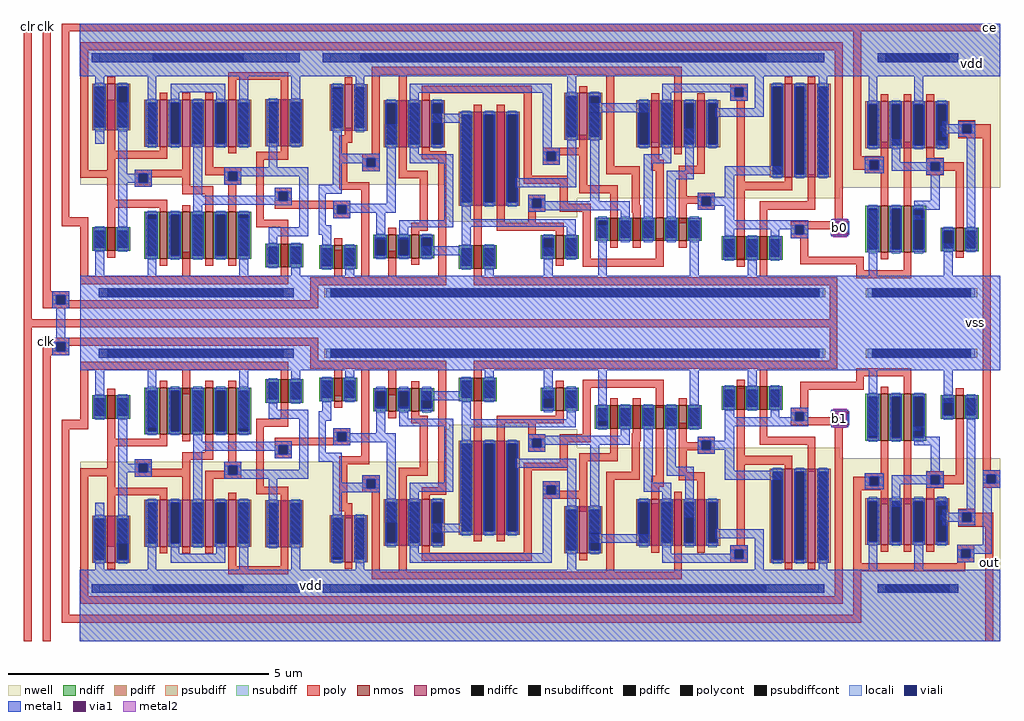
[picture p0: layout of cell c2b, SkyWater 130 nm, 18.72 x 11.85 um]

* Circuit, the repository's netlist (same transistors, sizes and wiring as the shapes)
* NGSPICE file created from c2b.ext - technology: sky130A

.subckt sky130_fd_pr__pfet_01v8_5CNMEE VSUBS a_15_n180# w_n109_n242# a_n73_n180# a_n15_n206#
X0 a_15_n180# a_n15_n206# a_n73_n180# w_n109_n242# sky130_fd_pr__pfet_01v8 ad=5.22e+11p pd=4.18e+06u as=5.22e+11p ps=4.18e+06u w=1.8e+06u l=150000u
.ends

.subckt sky130_fd_pr__pfet_01v8_5UWV5B VSUBS a_n15_n116# a_n73_n90# w_n109_n152# a_15_n90#
X0 a_15_n90# a_n15_n116# a_n73_n90# w_n109_n152# sky130_fd_pr__pfet_01v8 ad=2.61e+11p pd=2.38e+06u as=2.61e+11p ps=2.38e+06u w=900000u l=150000u
.ends

.subckt sky130_fd_pr__nfet_01v8_J836M4 VSUBS a_n73_n45# a_n15_n71# a_15_n45#
X0 a_15_n45# a_n15_n71# a_n73_n45# VSUBS sky130_fd_pr__nfet_01v8 ad=1.305e+11p pd=1.48e+06u as=1.305e+11p ps=1.48e+06u w=450000u l=150000u
.ends

.subckt flipflop clk Q clr vss vdd D
Xsky130_fd_pr__pfet_01v8_5CNMEE_0 vss vdd vdd sky130_fd_pr__pfet_01v8_5CNMEE_3/a_15_n180#
+ a_30_190# sky130_fd_pr__pfet_01v8_5CNMEE
Xsky130_fd_pr__pfet_01v8_5CNMEE_1 vss sky130_fd_pr__pfet_01v8_5CNMEE_1/a_15_n180#
+ vdd Q a_926_688# sky130_fd_pr__pfet_01v8_5CNMEE
Xsky130_fd_pr__pfet_01v8_5UWV5B_0 vss clk a_n486_418# vdd vdd sky130_fd_pr__pfet_01v8_5UWV5B
Xsky130_fd_pr__pfet_01v8_5CNMEE_2 vss vdd vdd sky130_fd_pr__pfet_01v8_5CNMEE_1/a_15_n180#
+ clr sky130_fd_pr__pfet_01v8_5CNMEE
Xsky130_fd_pr__pfet_01v8_5UWV5B_1 vss a_n486_418# D vdd a_206_442# sky130_fd_pr__pfet_01v8_5UWV5B
Xsky130_fd_pr__pfet_01v8_5CNMEE_3 vss sky130_fd_pr__pfet_01v8_5CNMEE_3/a_15_n180#
+ vdd m1_n256_96# clr sky130_fd_pr__pfet_01v8_5CNMEE
Xsky130_fd_pr__pfet_01v8_5UWV5B_2 vss clk a_206_442# vdd m1_n256_96# sky130_fd_pr__pfet_01v8_5UWV5B
Xsky130_fd_pr__pfet_01v8_5UWV5B_4 vss clk a_30_190# vdd a_926_688# sky130_fd_pr__pfet_01v8_5UWV5B
Xsky130_fd_pr__pfet_01v8_5UWV5B_3 vss a_206_442# vdd vdd a_30_190# sky130_fd_pr__pfet_01v8_5UWV5B
Xsky130_fd_pr__pfet_01v8_5UWV5B_5 vss a_n486_418# a_926_688# vdd m1_682_162# sky130_fd_pr__pfet_01v8_5UWV5B
Xsky130_fd_pr__pfet_01v8_5UWV5B_6 vss Q m1_682_162# vdd vdd sky130_fd_pr__pfet_01v8_5UWV5B
Xsky130_fd_pr__nfet_01v8_J836M4_0 vss a_206_442# a_n486_418# m1_n256_96# sky130_fd_pr__nfet_01v8_J836M4
Xsky130_fd_pr__nfet_01v8_J836M4_1 vss m1_n256_96# clr vss sky130_fd_pr__nfet_01v8_J836M4
Xsky130_fd_pr__nfet_01v8_J836M4_2 vss vss a_30_190# m1_n256_96# sky130_fd_pr__nfet_01v8_J836M4
Xsky130_fd_pr__nfet_01v8_J836M4_3 vss D clk a_206_442# sky130_fd_pr__nfet_01v8_J836M4
Xsky130_fd_pr__nfet_01v8_J836M4_4 vss a_n486_418# clk vss sky130_fd_pr__nfet_01v8_J836M4
Xsky130_fd_pr__nfet_01v8_J836M4_5 vss vss a_206_442# a_30_190# sky130_fd_pr__nfet_01v8_J836M4
Xsky130_fd_pr__nfet_01v8_J836M4_10 vss vss clr Q sky130_fd_pr__nfet_01v8_J836M4
Xsky130_fd_pr__nfet_01v8_J836M4_6 vss a_30_190# a_n486_418# a_926_688# sky130_fd_pr__nfet_01v8_J836M4
Xsky130_fd_pr__nfet_01v8_J836M4_7 vss a_926_688# clk m1_682_162# sky130_fd_pr__nfet_01v8_J836M4
Xsky130_fd_pr__nfet_01v8_J836M4_8 vss m1_682_162# Q vss sky130_fd_pr__nfet_01v8_J836M4
Xsky130_fd_pr__nfet_01v8_J836M4_9 vss Q a_926_688# vss sky130_fd_pr__nfet_01v8_J836M4
.ends

.subckt sky130_fd_pr__nfet_01v8_H7KMG3 VSUBS a_n15_n147# a_15_n121# a_n73_n121#
X0 a_15_n121# a_n15_n147# a_n73_n121# VSUBS sky130_fd_pr__nfet_01v8 ad=2.61e+11p pd=2.38e+06u as=2.61e+11p ps=2.38e+06u w=900000u l=150000u
.ends

.subckt sky130_fd_pr__pfet_01v8_5AY9XA VSUBS a_n15_n116# a_n73_n90# w_n109_n152# a_15_n90#
X0 a_15_n90# a_n15_n116# a_n73_n90# w_n109_n152# sky130_fd_pr__pfet_01v8 ad=2.61e+11p pd=2.38e+06u as=2.61e+11p ps=2.38e+06u w=900000u l=150000u
.ends

.subckt sky130_fd_pr__nfet_01v8_J83WCX VSUBS a_n73_n76# a_n15_n102# a_15_n76#
X0 a_15_n76# a_n15_n102# a_n73_n76# VSUBS sky130_fd_pr__nfet_01v8 ad=1.305e+11p pd=1.48e+06u as=1.305e+11p ps=1.48e+06u w=450000u l=150000u
.ends

.subckt xor in1 in2 out vss vdd
Xsky130_fd_pr__nfet_01v8_H7KMG3_0 vss in1 sky130_fd_pr__nfet_01v8_H7KMG3_0/a_15_n121#
+ vss sky130_fd_pr__nfet_01v8_H7KMG3
Xsky130_fd_pr__pfet_01v8_5AY9XA_0 vss in1 vdd vdd a_180_358# sky130_fd_pr__pfet_01v8_5AY9XA
Xsky130_fd_pr__nfet_01v8_H7KMG3_1 vss in2 out sky130_fd_pr__nfet_01v8_H7KMG3_0/a_15_n121#
+ sky130_fd_pr__nfet_01v8_H7KMG3
Xsky130_fd_pr__pfet_01v8_5AY9XA_1 vss in1 vdd vdd m1_318_680# sky130_fd_pr__pfet_01v8_5AY9XA
Xsky130_fd_pr__nfet_01v8_H7KMG3_2 vss a_180_358# sky130_fd_pr__nfet_01v8_H7KMG3_2/a_15_n121#
+ out sky130_fd_pr__nfet_01v8_H7KMG3
Xsky130_fd_pr__pfet_01v8_5AY9XA_2 vss a_180_358# m1_318_680# vdd out sky130_fd_pr__pfet_01v8_5AY9XA
Xsky130_fd_pr__nfet_01v8_H7KMG3_3 vss a_452_402# vss sky130_fd_pr__nfet_01v8_H7KMG3_2/a_15_n121#
+ sky130_fd_pr__nfet_01v8_H7KMG3
Xsky130_fd_pr__pfet_01v8_5AY9XA_3 vss a_452_402# out vdd m1_318_680# sky130_fd_pr__pfet_01v8_5AY9XA
Xsky130_fd_pr__pfet_01v8_5AY9XA_4 vss in2 m1_318_680# vdd vdd sky130_fd_pr__pfet_01v8_5AY9XA
Xsky130_fd_pr__pfet_01v8_5AY9XA_5 vss in2 a_452_402# vdd vdd sky130_fd_pr__pfet_01v8_5AY9XA
Xsky130_fd_pr__nfet_01v8_J83WCX_0 vss vss in1 a_180_358# sky130_fd_pr__nfet_01v8_J83WCX
Xsky130_fd_pr__nfet_01v8_J83WCX_1 vss a_452_402# in2 vss sky130_fd_pr__nfet_01v8_J83WCX
.ends

.subckt sky130_fd_pr__nfet_01v8_P8KVP3 VSUBS a_n15_n116# a_n73_n90# a_15_n90#
X0 a_15_n90# a_n15_n116# a_n73_n90# VSUBS sky130_fd_pr__nfet_01v8 ad=2.61e+11p pd=2.38e+06u as=2.61e+11p ps=2.38e+06u w=900000u l=150000u
.ends

.subckt sky130_fd_pr__pfet_01v8_3YK7C3 VSUBS a_n15_n116# a_n73_n90# w_n109_n152# a_15_n90#
X0 a_15_n90# a_n15_n116# a_n73_n90# w_n109_n152# sky130_fd_pr__pfet_01v8 ad=2.61e+11p pd=2.38e+06u as=2.61e+11p ps=2.38e+06u w=900000u l=150000u
.ends

.subckt and in1 in2 out vss vdd
Xsky130_fd_pr__nfet_01v8_P8KVP3_0 vss in1 vss sky130_fd_pr__nfet_01v8_P8KVP3_0/a_15_n90#
+ sky130_fd_pr__nfet_01v8_P8KVP3
Xsky130_fd_pr__nfet_01v8_P8KVP3_1 vss in2 sky130_fd_pr__nfet_01v8_P8KVP3_0/a_15_n90#
+ a_230_409# sky130_fd_pr__nfet_01v8_P8KVP3
Xsky130_fd_pr__pfet_01v8_3YK7C3_0 vss in1 vdd vdd a_230_409# sky130_fd_pr__pfet_01v8_3YK7C3
Xsky130_fd_pr__pfet_01v8_3YK7C3_1 vss in2 a_230_409# vdd vdd sky130_fd_pr__pfet_01v8_3YK7C3
Xsky130_fd_pr__nfet_01v8_J836M4_0 vss vss a_230_409# out sky130_fd_pr__nfet_01v8_J836M4
Xsky130_fd_pr__pfet_01v8_3YK7C3_2 vss a_230_409# vdd vdd out sky130_fd_pr__pfet_01v8_3YK7C3
.ends

.subckt c1b vss clk ce Q clr out vdd
Xflipflop_0 clk Q clr vss vdd xor_0/out flipflop
Xxor_0 Q ce xor_0/out vss vdd xor
Xand_0 ce Q out vss vdd and
.ends


* Top level circuit c2b

Xc1b_0 vss clk ce b0 clr c1b_1/ce vdd c1b
Xc1b_1 vss clk c1b_1/ce b1 clr out vdd c1b
.end

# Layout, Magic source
magic
tech sky130A
magscale 1 2
<< nwell >>
rect 56 972 3586 1174
rect 3506 544 3586 972
rect 3508 -922 3586 -494
rect 56 -1196 3586 -922
<< poly >>
rect -158 40 -128 1174
rect -86 148 -56 1174
rect 3024 1144 3560 1174
rect 3492 760 3550 788
rect 3426 734 3550 760
rect -86 132 16 148
rect -86 98 -34 132
rect 0 112 16 132
rect 0 98 76 112
rect -86 82 76 98
rect -158 10 70 40
rect -158 -1196 -128 10
rect -86 -48 82 -32
rect -86 -82 -34 -48
rect 0 -62 82 -48
rect 0 -82 16 -62
rect -86 -98 16 -82
rect -86 -1196 -56 -98
rect 3520 -540 3550 734
rect 3520 -556 3586 -540
rect 3520 -590 3536 -556
rect 3570 -590 3586 -556
rect 3520 -606 3586 -590
rect 3490 -736 3560 -702
rect 3426 -756 3560 -736
rect 3422 -842 3488 -826
rect 3422 -876 3438 -842
rect 3472 -876 3488 -842
rect 3422 -892 3488 -876
rect 3422 -896 3452 -892
rect 3024 -926 3452 -896
rect 3530 -1196 3560 -756
<< polycont >>
rect -34 98 0 132
rect -34 -82 0 -48
rect 3536 -590 3570 -556
rect 3438 -876 3472 -842
<< locali >>
rect -50 98 -34 132
rect 0 98 16 132
rect -50 -82 -34 -48
rect 0 -82 16 -48
rect 3520 -590 3536 -556
rect 3570 -590 3586 -556
rect 3422 -876 3438 -842
rect 3472 -876 3488 -842
<< viali >>
rect -34 98 0 132
rect -34 -82 0 -48
rect 3536 -590 3570 -556
rect 3438 -876 3472 -842
<< metal1 >>
rect 56 972 3586 1174
rect -50 132 16 148
rect -50 98 -34 132
rect 0 98 16 132
rect -50 82 16 98
rect -34 -32 0 82
rect -50 -48 16 -32
rect -50 -82 -34 -48
rect 0 -82 16 -48
rect -50 -98 16 -82
rect 58 -156 3586 206
rect 3520 -556 3586 -540
rect 3520 -590 3536 -556
rect 3570 -590 3586 -556
rect 3520 -606 3586 -590
rect 3520 -826 3554 -606
rect 3422 -842 3554 -826
rect 3422 -876 3438 -842
rect 3472 -860 3554 -842
rect 3472 -876 3488 -860
rect 3422 -892 3488 -876
rect 56 -1196 3586 -922
<< metal2 >>
rect 2946 364 2998 416
rect 2946 -366 2998 -314
use c1b  c1b_1
transform 1 0 58 0 -1 -68
box -72 -108 3457 1056
use c1b  c1b_0
transform 1 0 58 0 1 118
box -72 -108 3457 1056
<< labels >>
rlabel metal2 2946 364 2998 416 1 b0
rlabel metal2 2946 -366 2998 -314 1 b1
rlabel poly -150 1154 -134 1170 1 clr
rlabel poly -78 1154 -62 1170 1 clk
rlabel metal1 3476 0 3506 58 1 vss
rlabel metal1 924 -996 966 -968 1 vdd
rlabel metal1 3466 992 3496 1050 1 vdd
rlabel poly -78 -54 -62 -38 1 clk
rlabel poly 3540 1152 3552 1168 1 ce
rlabel poly 3538 -916 3554 -874 1 out
<< end >>

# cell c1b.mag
magic
tech sky130A
magscale 1 2
<< nwell >>
rect 2948 474 2978 978
rect 2948 426 2976 474
<< poly >>
rect -72 1026 2996 1056
rect -72 314 -42 1026
rect 0 954 2924 984
rect 0 464 30 954
rect -72 278 2 314
rect 2894 306 2924 954
rect 2966 548 2996 1026
rect 3442 635 3457 669
rect 2966 496 3070 548
rect 2880 298 2946 306
rect 2780 290 2946 298
rect 2780 268 2896 290
rect 2880 256 2896 268
rect 2930 256 2946 290
rect 11 178 21 250
rect 2880 240 2946 256
rect 2942 132 2988 162
rect 882 -6 912 82
rect 1059 62 1119 78
rect 1661 58 1721 74
rect 0 -36 912 -6
rect 2874 -78 2904 52
rect 0 -108 2904 -78
<< polycont >>
rect 2896 256 2930 290
<< locali >>
rect 2880 256 2896 290
rect 2930 256 2946 290
<< viali >>
rect 2896 256 2930 290
<< metal1 >>
rect 635 880 679 902
rect 2948 854 2978 950
rect 3351 644 3365 656
rect 2880 298 2946 306
rect 2878 246 2888 298
rect 2940 246 2950 298
rect 2880 240 2946 246
rect 1431 50 1493 76
rect 2946 0 2976 88
<< via1 >>
rect 2888 290 2940 298
rect 2888 256 2896 290
rect 2896 256 2930 290
rect 2930 256 2940 290
rect 2888 246 2940 256
<< metal2 >>
rect 2888 298 2940 308
rect 2888 236 2940 246
use and_masa  and_masa_0
transform 1 0 3016 0 1 66
box -40 -66 441 912
use flipflop  flipflop_0
transform 1 0 1568 0 1 72
box -686 -72 1388 906
use xor_masa  xor_masa_0
transform 1 0 28 0 1 72
box -28 -72 864 906
<< labels >>
rlabel space -28 278 30 314 1 ce
rlabel poly 2880 240 2946 306 1 Q
rlabel space 3418 635 3457 669 1 out
rlabel poly 1059 62 1119 78 1 clk
rlabel poly 1661 58 1721 74 1 clr
rlabel metal1 635 880 679 902 1 vdd
rlabel poly 11 178 21 250 1 ce
rlabel metal1 3351 644 3365 656 1 out
rlabel metal1 1431 50 1493 76 1 vss
<< end >>

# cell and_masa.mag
magic
tech sky130A
magscale 1 2
<< nwell >>
rect -40 740 441 912
rect -38 501 441 740
rect -40 360 441 501
<< psubdiff >>
rect -3 -60 21 -26
rect 400 -60 424 -26
<< nsubdiff >>
rect 43 842 74 876
rect 317 842 351 876
<< psubdiffcont >>
rect 21 -60 400 -26
<< nsubdiffcont >>
rect 74 842 317 876
<< poly >>
rect 352 603 418 619
rect 352 569 368 603
rect 402 569 441 603
rect 352 553 418 569
rect 54 482 84 536
rect -6 466 84 482
rect -40 465 84 466
rect -40 430 12 465
rect 46 430 84 465
rect -6 416 84 430
rect 54 317 84 416
rect 142 314 172 536
rect 230 475 260 518
rect 230 459 296 475
rect 230 425 246 459
rect 280 425 372 459
rect 230 409 296 425
rect 342 233 372 425
rect -40 44 -10 96
rect 142 44 172 104
rect -40 14 172 44
<< polycont >>
rect 368 569 402 603
rect 12 430 46 465
rect 246 425 280 459
<< locali >>
rect 352 569 368 603
rect 402 569 418 603
rect -6 430 12 465
rect 46 430 66 465
rect 230 425 246 459
rect 280 425 296 459
rect 5 -60 21 -26
rect 400 -60 416 -26
<< viali >>
rect 43 842 74 876
rect 74 842 317 876
rect 317 842 351 876
rect 368 569 402 603
rect 12 430 46 465
rect 246 425 280 459
rect 21 -60 400 -26
<< metal1 >>
rect -40 876 441 884
rect -40 842 43 876
rect 351 842 441 876
rect -40 788 441 842
rect 8 680 42 788
rect 184 680 218 788
rect 290 603 312 616
rect 352 603 418 616
rect 290 596 368 603
rect 284 578 368 596
rect 290 569 368 578
rect 402 569 418 603
rect 290 556 312 569
rect 352 556 418 569
rect -6 465 66 479
rect -6 430 12 465
rect 46 430 66 465
rect -6 416 66 430
rect 96 459 130 546
rect 273 507 306 540
rect 230 459 296 473
rect 96 425 246 459
rect 280 425 296 459
rect 230 411 296 425
rect 237 410 292 411
rect 246 310 280 410
rect 183 276 280 310
rect 8 22 42 273
rect 184 250 208 254
rect 185 241 208 250
rect 185 238 219 241
rect 296 22 330 146
rect 384 117 418 556
rect -40 -26 441 22
rect -40 -60 21 -26
rect 400 -60 441 -26
rect -40 -66 441 -60
use sky130_fd_pr__pfet_01v8_3YK7C3  sky130_fd_pr__pfet_01v8_3YK7C3_0
transform 1 0 69 0 1 602
box -109 -152 109 152
use sky130_fd_pr__pfet_01v8_3YK7C3  sky130_fd_pr__pfet_01v8_3YK7C3_1
transform 1 0 157 0 1 602
box -109 -152 109 152
use sky130_fd_pr__pfet_01v8_3YK7C3  sky130_fd_pr__pfet_01v8_3YK7C3_2
transform 1 0 245 0 1 602
box -109 -152 109 152
use sky130_fd_pr__nfet_01v8_P8KVP3  sky130_fd_pr__nfet_01v8_P8KVP3_1
transform 1 0 157 0 1 202
box -73 -116 73 116
use sky130_fd_pr__nfet_01v8_P8KVP3  sky130_fd_pr__nfet_01v8_P8KVP3_0
transform 1 0 69 0 1 202
box -73 -116 73 116
use sky130_fd_pr__nfet_01v8_J836M4  sky130_fd_pr__nfet_01v8_J836M4_0
transform 1 0 357 0 1 162
box -73 -71 73 71
<< labels >>
rlabel metal1 21 -60 400 -26 1 vss
rlabel poly -40 14 -10 96 1 in2
rlabel poly -40 430 12 466 1 in1
rlabel nwell 43 842 351 876 1 vdd
rlabel poly 402 569 441 603 1 out
<< end >>

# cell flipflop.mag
magic
tech sky130A
magscale 1 2
<< nwell >>
rect -676 816 1380 906
rect -676 486 1328 816
rect 1344 486 1380 816
rect -676 366 1380 486
rect -168 354 1380 366
rect -168 328 1346 354
rect -168 262 140 328
rect 150 314 1346 328
rect 150 262 338 314
rect -168 242 338 262
rect -142 228 66 242
<< psubdiff >>
rect -632 -66 -608 -32
rect 1266 -66 1290 -32
<< nsubdiff >>
rect -612 836 -492 870
rect 1062 836 1264 870
<< psubdiffcont >>
rect -608 -66 1266 -32
<< nsubdiffcont >>
rect -492 836 1062 870
<< poly >>
rect -450 788 740 818
rect -554 556 -524 584
rect -574 526 -524 556
rect -574 376 -544 526
rect -450 484 -420 788
rect -486 468 -420 484
rect -486 434 -470 468
rect -436 434 -420 468
rect -486 418 -420 434
rect -346 420 -316 788
rect -258 716 164 746
rect -258 690 -228 716
rect -258 464 -164 494
rect -346 390 -236 420
rect -574 346 -460 376
rect -676 288 -532 304
rect -676 274 -582 288
rect -598 254 -582 274
rect -548 254 -532 288
rect -598 238 -532 254
rect -594 10 -564 116
rect -490 10 -460 346
rect -266 220 -236 390
rect -298 190 -236 220
rect -386 10 -356 112
rect -194 10 -164 464
rect -686 -20 -164 10
rect -58 10 -28 670
rect 30 220 60 648
rect 134 400 164 716
rect 346 508 376 558
rect 206 492 376 508
rect 206 458 222 492
rect 256 478 376 492
rect 256 458 272 478
rect 206 442 272 458
rect 134 370 302 400
rect 150 312 216 328
rect 150 278 166 312
rect 200 278 216 312
rect 150 262 216 278
rect 272 292 302 370
rect 346 364 376 478
rect 450 436 480 788
rect 622 526 652 690
rect 622 462 652 506
rect 710 482 740 788
rect 926 738 992 754
rect 926 704 942 738
rect 976 704 992 738
rect 450 406 578 436
rect 622 420 670 462
rect 798 438 828 690
rect 926 688 992 704
rect 346 334 494 364
rect 272 262 390 292
rect 150 220 180 262
rect 30 190 286 220
rect 360 82 390 262
rect 464 124 494 334
rect 548 288 578 406
rect 548 258 582 288
rect 552 124 582 258
rect 640 240 670 420
rect 728 408 828 438
rect 728 322 758 408
rect 950 378 980 688
rect 950 344 1164 378
rect 800 322 866 336
rect 728 320 866 322
rect 728 292 816 320
rect 728 218 758 292
rect 800 286 816 292
rect 850 286 866 320
rect 800 270 866 286
rect 640 82 670 160
rect 950 82 980 344
rect 1222 302 1252 406
rect 1038 270 1252 302
rect 360 52 670 82
rect 1038 10 1068 270
rect 1158 210 1224 226
rect 1158 176 1174 210
rect 1208 176 1224 210
rect 1158 160 1224 176
rect 1194 90 1224 160
rect 1194 60 1378 90
rect -58 -20 1336 10
<< polycont >>
rect -470 434 -436 468
rect -582 254 -548 288
rect 222 458 256 492
rect 166 278 200 312
rect 942 704 976 738
rect 816 286 850 320
rect 1174 176 1208 210
<< locali >>
rect 926 704 942 738
rect 976 704 992 738
rect -486 434 -470 468
rect -436 434 -420 468
rect 206 458 222 492
rect 256 458 272 492
rect -598 254 -582 288
rect -548 254 -532 288
rect 150 278 166 312
rect 200 278 216 312
rect 800 286 816 320
rect 850 286 866 320
rect 1158 176 1174 210
rect 1208 176 1224 210
rect -624 -66 -608 -32
rect 1266 -66 1282 -32
<< viali >>
rect -638 836 -492 870
rect -492 836 1062 870
rect 1062 836 1286 870
rect 942 704 976 738
rect -470 434 -436 468
rect 222 458 256 492
rect -582 254 -548 288
rect 166 278 200 312
rect 816 286 850 320
rect 1174 176 1208 210
rect -608 -66 1266 -32
<< metal1 >>
rect -676 870 1388 878
rect -676 836 -638 870
rect 1286 836 1388 870
rect -676 782 1388 836
rect -512 742 -478 782
rect -598 626 -566 732
rect -600 484 -566 626
rect -510 586 -476 742
rect -304 718 240 754
rect -600 468 -420 484
rect -600 448 -470 468
rect -600 366 -566 448
rect -486 434 -470 448
rect -436 434 -420 468
rect -486 418 -420 434
rect -654 332 -566 366
rect -654 210 -626 332
rect -598 292 -532 304
rect -392 292 -358 598
rect -304 482 -270 718
rect -216 604 -70 638
rect -304 448 -138 482
rect -598 288 -358 292
rect -598 254 -582 288
rect -548 258 -358 288
rect -548 254 -532 258
rect -598 238 -532 254
rect -654 174 -606 210
rect -640 58 -606 174
rect -432 156 -398 258
rect -172 230 -138 448
rect -344 202 -138 230
rect -104 234 -70 604
rect 206 508 240 718
rect 206 492 272 508
rect 206 458 222 492
rect 256 458 272 492
rect 206 442 272 458
rect 300 390 334 782
rect 664 738 992 754
rect 664 720 942 738
rect 388 644 610 678
rect 100 356 334 390
rect 150 312 216 328
rect 150 278 166 312
rect 200 302 216 312
rect 388 302 422 640
rect 664 482 698 720
rect 926 704 942 720
rect 976 704 992 738
rect 926 688 992 704
rect 1020 660 1054 782
rect 868 626 1054 660
rect 594 448 698 482
rect 200 278 540 302
rect 150 268 540 278
rect 150 262 216 268
rect -104 204 332 234
rect -344 156 -310 202
rect -104 130 -70 204
rect -552 16 -518 122
rect -256 96 -70 130
rect -104 56 -70 96
rect -16 16 18 124
rect 210 16 244 124
rect 298 96 332 204
rect 418 16 452 210
rect 506 162 540 268
rect 594 164 628 448
rect 752 420 786 580
rect 682 386 786 420
rect 904 402 1120 436
rect 1264 406 1298 782
rect 682 162 716 386
rect 800 320 866 336
rect 904 320 940 402
rect 800 286 816 320
rect 850 286 940 320
rect 800 270 866 286
rect 904 230 940 286
rect 770 16 804 228
rect 904 210 1224 230
rect 904 196 1174 210
rect 904 88 940 196
rect 992 16 1026 156
rect 1080 90 1114 196
rect 1158 176 1174 196
rect 1208 176 1224 210
rect 1158 160 1224 176
rect -676 10 1378 16
rect -686 -20 1378 10
rect -676 -32 1378 -20
rect -676 -66 -608 -32
rect 1266 -66 1378 -32
rect -676 -72 1378 -66
use sky130_fd_pr__nfet_01v8_J836M4  sky130_fd_pr__nfet_01v8_J836M4_4
transform 1 0 -579 0 1 89
box -73 -71 73 71
use sky130_fd_pr__nfet_01v8_J836M4  sky130_fd_pr__nfet_01v8_J836M4_3
transform 1 0 -371 0 1 129
box -73 -71 73 71
use sky130_fd_pr__pfet_01v8_5UWV5B  sky130_fd_pr__pfet_01v8_5UWV5B_0
transform 1 0 -539 0 1 662
box -109 -152 109 152
use sky130_fd_pr__pfet_01v8_5UWV5B  sky130_fd_pr__pfet_01v8_5UWV5B_1
transform 1 0 -331 0 1 600
box -109 -152 109 152
use sky130_fd_pr__nfet_01v8_J836M4  sky130_fd_pr__nfet_01v8_J836M4_0
transform 1 0 -283 0 1 129
box -73 -71 73 71
use sky130_fd_pr__pfet_01v8_5UWV5B  sky130_fd_pr__pfet_01v8_5UWV5B_2
transform 1 0 -243 0 1 600
box -109 -152 109 152
use sky130_fd_pr__nfet_01v8_J836M4  sky130_fd_pr__nfet_01v8_J836M4_1
transform 1 0 -43 0 1 89
box -73 -71 73 71
use sky130_fd_pr__pfet_01v8_5CNMEE  sky130_fd_pr__pfet_01v8_5CNMEE_0
transform 1 0 45 0 1 466
box -109 -242 109 242
use sky130_fd_pr__pfet_01v8_5CNMEE  sky130_fd_pr__pfet_01v8_5CNMEE_3
transform 1 0 -43 0 1 466
box -109 -242 109 242
use sky130_fd_pr__nfet_01v8_J836M4  sky130_fd_pr__nfet_01v8_J836M4_2
transform 1 0 271 0 1 127
box -73 -71 73 71
use sky130_fd_pr__nfet_01v8_J836M4  sky130_fd_pr__nfet_01v8_J836M4_5
transform 1 0 479 0 1 195
box -73 -71 73 71
use sky130_fd_pr__pfet_01v8_5UWV5B  sky130_fd_pr__pfet_01v8_5UWV5B_3
transform 1 0 361 0 1 628
box -109 -152 109 152
use sky130_fd_pr__nfet_01v8_J836M4  sky130_fd_pr__nfet_01v8_J836M4_6
transform 1 0 567 0 1 195
box -73 -71 73 71
use sky130_fd_pr__nfet_01v8_J836M4  sky130_fd_pr__nfet_01v8_J836M4_7
transform 1 0 655 0 1 195
box -73 -71 73 71
use sky130_fd_pr__pfet_01v8_5UWV5B  sky130_fd_pr__pfet_01v8_5UWV5B_4
transform 1 0 637 0 1 600
box -109 -152 109 152
use sky130_fd_pr__pfet_01v8_5UWV5B  sky130_fd_pr__pfet_01v8_5UWV5B_5
transform 1 0 725 0 1 600
box -109 -152 109 152
use sky130_fd_pr__nfet_01v8_J836M4  sky130_fd_pr__nfet_01v8_J836M4_8
transform 1 0 743 0 1 195
box -73 -71 73 71
use sky130_fd_pr__pfet_01v8_5UWV5B  sky130_fd_pr__pfet_01v8_5UWV5B_6
transform 1 0 813 0 1 600
box -109 -152 109 152
use sky130_fd_pr__nfet_01v8_J836M4  sky130_fd_pr__nfet_01v8_J836M4_10
transform 1 0 1053 0 1 123
box -73 -71 73 71
use sky130_fd_pr__nfet_01v8_J836M4  sky130_fd_pr__nfet_01v8_J836M4_9
transform 1 0 965 0 1 123
box -73 -71 73 71
use sky130_fd_pr__pfet_01v8_5CNMEE  sky130_fd_pr__pfet_01v8_5CNMEE_1
transform 1 0 1149 0 1 574
box -109 -242 109 242
use sky130_fd_pr__pfet_01v8_5CNMEE  sky130_fd_pr__pfet_01v8_5CNMEE_2
transform 1 0 1237 0 1 574
box -109 -242 109 242
<< labels >>
rlabel poly -676 274 -582 304 1 D
rlabel poly -58 -20 1336 10 1 clr
rlabel poly -686 -20 -164 10 1 clk
rlabel metal1 1174 176 1208 210 1 Q
rlabel metal1 -608 -66 1266 -32 1 vss
rlabel nwell -492 836 1062 870 1 vdd
<< end >>

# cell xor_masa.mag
magic
tech sky130A
magscale 1 2
<< nwell >>
rect -28 366 864 906
<< psubdiff >>
rect 54 -66 78 -32
rect 750 -66 774 -32
<< nsubdiff >>
rect 44 836 252 870
rect 598 836 764 870
<< psubdiffcont >>
rect 78 -66 750 -32
<< nsubdiffcont >>
rect 252 836 598 870
<< poly >>
rect 540 768 770 798
rect 540 692 570 768
rect 76 496 106 692
rect 76 466 306 496
rect 76 422 106 466
rect 364 424 394 514
rect -28 392 106 422
rect 76 308 106 392
rect 180 408 394 424
rect 180 374 196 408
rect 230 394 394 408
rect 452 432 482 514
rect 740 492 770 768
rect 646 462 770 492
rect 452 416 590 432
rect 452 402 540 416
rect 230 374 246 394
rect 180 358 246 374
rect 364 360 394 394
rect 524 382 540 402
rect 574 382 590 416
rect 524 366 590 382
rect 364 330 482 360
rect 76 278 306 308
rect -28 14 2 242
rect 76 86 106 278
rect 452 262 482 330
rect 540 262 570 366
rect 646 232 676 462
rect 718 338 784 354
rect 718 304 734 338
rect 768 304 784 338
rect 718 274 864 304
rect 646 202 770 232
rect 364 14 394 108
rect 740 14 770 202
rect -28 -16 770 14
<< polycont >>
rect 196 374 230 408
rect 540 382 574 416
rect 734 304 768 338
<< locali >>
rect 180 374 196 408
rect 230 374 246 408
rect 524 382 540 416
rect 574 382 590 416
rect 718 304 734 338
rect 768 304 784 338
<< viali >>
rect 16 836 252 870
rect 252 836 598 870
rect 598 836 814 870
rect 196 374 230 408
rect 540 382 574 416
rect 734 304 768 338
rect 42 -66 78 -32
rect 78 -66 750 -32
rect 750 -66 790 -32
<< metal1 >>
rect -28 870 864 878
rect -28 836 16 870
rect 814 836 864 870
rect -28 782 864 836
rect 30 524 64 782
rect 118 408 152 680
rect 230 524 264 782
rect 318 720 528 754
rect 318 680 352 720
rect 494 680 528 720
rect 180 408 246 424
rect 118 374 196 408
rect 230 374 246 408
rect 30 16 64 190
rect 118 124 152 374
rect 180 358 246 374
rect 406 324 440 680
rect 582 524 616 782
rect 694 432 728 676
rect 782 520 816 782
rect 524 416 846 432
rect 524 382 540 416
rect 574 398 846 416
rect 574 382 590 398
rect 524 366 590 382
rect 718 338 784 354
rect 718 324 734 338
rect 406 304 734 324
rect 768 304 784 338
rect 406 290 784 304
rect 230 16 264 234
rect 406 94 440 290
rect 718 288 784 290
rect 582 16 616 238
rect 812 202 846 398
rect 694 168 846 202
rect 694 64 728 168
rect 782 16 816 128
rect -28 -32 864 16
rect -28 -66 42 -32
rect 790 -66 864 -32
rect -28 -72 864 -66
use sky130_fd_pr__nfet_01v8_J83WCX  sky130_fd_pr__nfet_01v8_J83WCX_0
transform 1 0 91 0 1 188
box -73 -102 73 40
use sky130_fd_pr__nfet_01v8_H7KMG3  sky130_fd_pr__nfet_01v8_H7KMG3_2
transform 1 0 467 0 1 203
box -73 -147 73 85
use sky130_fd_pr__nfet_01v8_H7KMG3  sky130_fd_pr__nfet_01v8_H7KMG3_1
transform 1 0 379 0 1 203
box -73 -147 73 85
use sky130_fd_pr__nfet_01v8_H7KMG3  sky130_fd_pr__nfet_01v8_H7KMG3_0
transform 1 0 291 0 1 203
box -73 -147 73 85
use sky130_fd_pr__nfet_01v8_H7KMG3  sky130_fd_pr__nfet_01v8_H7KMG3_3
transform 1 0 555 0 1 203
box -73 -147 73 85
use sky130_fd_pr__nfet_01v8_J83WCX  sky130_fd_pr__nfet_01v8_J83WCX_1
transform 1 0 755 0 1 126
box -73 -102 73 40
use sky130_fd_pr__pfet_01v8_5AY9XA_masa  sky130_fd_pr__pfet_01v8_5AY9XA_masa_0
transform 1 0 91 0 1 664
box -109 -152 109 152
use sky130_fd_pr__pfet_01v8_5AY9XA_masa  sky130_fd_pr__pfet_01v8_5AY9XA_masa_1
transform 1 0 291 0 1 602
box -109 -152 109 152
use sky130_fd_pr__pfet_01v8_5AY9XA_masa  sky130_fd_pr__pfet_01v8_5AY9XA_masa_3
transform 1 0 467 0 1 602
box -109 -152 109 152
use sky130_fd_pr__pfet_01v8_5AY9XA_masa  sky130_fd_pr__pfet_01v8_5AY9XA_masa_2
transform 1 0 379 0 1 602
box -109 -152 109 152
use sky130_fd_pr__pfet_01v8_5AY9XA_masa  sky130_fd_pr__pfet_01v8_5AY9XA_masa_4
transform 1 0 555 0 1 602
box -109 -152 109 152
use sky130_fd_pr__pfet_01v8_5AY9XA_masa  sky130_fd_pr__pfet_01v8_5AY9XA_masa_5
transform 1 0 755 0 1 604
box -109 -152 109 152
<< labels >>
rlabel poly -28 -16 2 242 1 in2
rlabel metal1 42 -66 790 -32 1 vss
rlabel poly 718 274 864 304 1 out
rlabel metal1 -22 834 8 868 1 vdd
rlabel poly -28 392 106 422 1 in1
<< end >>

# cell sky130_fd_pr__nfet_01v8_J83WCX: kit device sky130_fd_pr__nfet_01v8, w 0.45 l 0.150 m 1 nf 1 diffcov 100 polycov 100 guard 0 glc 0 grc 0 gtc 0 gbc 0 tbcov 100 rlcov 100 topc 1 botc 0 poverlap 0 doverlap 1 lmin 0.15 wmin 0.42 compatible {sky130_fd_pr__nfet_01v8 sky130_fd_pr__nfet_01v8_lvt sky130_fd_bs_flash__special_sonosfet_star sky130_fd_pr__nfet_g5v0d10v5 sky130_fd_pr__nfet_05v0_nvt} full_metal 0 viasrc 100 viadrn 100 viagate 100 viagb 0 viagr 0 viagl 0 viagt 0

# cell sky130_fd_pr__nfet_01v8_H7KMG3: kit device sky130_fd_pr__nfet_01v8, w 0.9 l 0.150 m 1 nf 1 diffcov 100 polycov 100 guard 0 glc 0 grc 0 gtc 0 gbc 0 tbcov 100 rlcov 100 topc 1 botc 0 poverlap 0 doverlap 1 lmin 0.15 wmin 0.42 compatible {sky130_fd_pr__nfet_01v8 sky130_fd_pr__nfet_01v8_lvt sky130_fd_bs_flash__special_sonosfet_star sky130_fd_pr__nfet_g5v0d10v5 sky130_fd_pr__nfet_05v0_nvt} full_metal 0 viasrc 100 viadrn 100 viagate 100 viagb 0 viagr 0 viagl 0 viagt 0

# cell sky130_fd_pr__pfet_01v8_5AY9XA_masa: kit device sky130_fd_pr__pfet_01v8, w 0.9 l 0.15 m 1 nf 1 diffcov 100 polycov 100 guard 0 glc 0 grc 0 gtc 0 gbc 0 tbcov 100 rlcov 100 topc 0 botc 0 poverlap 0 doverlap 0 lmin 0.15 wmin 0.42 compatible {sky130_fd_pr__pfet_01v8 sky130_fd_pr__pfet_01v8_lvt sky130_fd_pr__pfet_01v8_hvt sky130_fd_pr__pfet_g5v0d10v5} full_metal 0 viasrc 100 viadrn 100 viagate 100 viagb 0 viagr 0 viagl 0 viagt 0

# cell sky130_fd_pr__nfet_01v8_J836M4: kit device sky130_fd_pr__nfet_01v8, w 0.45 l 0.150 m 1 nf 1 diffcov 100 polycov 100 guard 0 glc 0 grc 0 gtc 0 gbc 0 tbcov 100 rlcov 100 topc 0 botc 0 poverlap 0 doverlap 1 lmin 0.15 wmin 0.42 compatible {sky130_fd_pr__nfet_01v8 sky130_fd_pr__nfet_01v8_lvt sky130_fd_bs_flash__special_sonosfet_star sky130_fd_pr__nfet_g5v0d10v5 sky130_fd_pr__nfet_05v0_nvt} full_metal 0 viasrc 100 viadrn 100 viagate 100 viagb 0 viagr 0 viagl 0 viagt 0

# cell sky130_fd_pr__pfet_01v8_5UWV5B: kit device sky130_fd_pr__pfet_01v8, w 0.90 l 0.15 m 1 nf 1 diffcov 100 polycov 100 guard 0 glc 0 grc 0 gtc 0 gbc 0 tbcov 100 rlcov 100 topc 0 botc 0 poverlap 0 doverlap 1 lmin 0.15 wmin 0.42 compatible {sky130_fd_pr__pfet_01v8 sky130_fd_pr__pfet_01v8_lvt sky130_fd_pr__pfet_01v8_hvt sky130_fd_pr__pfet_g5v0d10v5} full_metal 0 viasrc 100 viadrn 100 viagate 100 viagb 0 viagr 0 viagl 0 viagt 0

# cell sky130_fd_pr__pfet_01v8_5CNMEE: kit device sky130_fd_pr__pfet_01v8, w 1.8 l 0.15 m 1 nf 1 diffcov 100 polycov 100 guard 0 glc 0 grc 0 gtc 0 gbc 0 tbcov 100 rlcov 100 topc 0 botc 0 poverlap 0 doverlap 1 lmin 0.15 wmin 0.42 compatible {sky130_fd_pr__pfet_01v8 sky130_fd_pr__pfet_01v8_lvt sky130_fd_pr__pfet_01v8_hvt sky130_fd_pr__pfet_g5v0d10v5} full_metal 0 viasrc 100 viadrn 100 viagate 100 viagb 0 viagr 0 viagl 0 viagt 0

# cell sky130_fd_pr__pfet_01v8_3YK7C3: kit device sky130_fd_pr__pfet_01v8, w 0.90000000000001 l 0.15 m 1 nf 1 diffcov 100 polycov 100 guard 0 glc 0 grc 0 gtc 0 gbc 0 tbcov 100 rlcov 100 topc 0 botc 0 poverlap 0 doverlap 1 lmin 0.15 wmin 0.42 compatible {sky130_fd_pr__pfet_01v8 sky130_fd_pr__pfet_01v8_lvt sky130_fd_pr__pfet_01v8_hvt sky130_fd_pr__pfet_g5v0d10v5} full_metal 0 viasrc 100 viadrn 100 viagate 100 viagb 0 viagr 0 viagl 0 viagt 0

# cell sky130_fd_pr__nfet_01v8_P8KVP3: kit device sky130_fd_pr__nfet_01v8, w 0.9 l 0.150 m 1 nf 1 diffcov 100 polycov 100 guard 0 glc 0 grc 0 gtc 0 gbc 0 tbcov 100 rlcov 100 topc 0 botc 0 poverlap 0 doverlap 1 lmin 0.15 wmin 0.42 compatible {sky130_fd_pr__nfet_01v8 sky130_fd_pr__nfet_01v8_lvt sky130_fd_bs_flash__special_sonosfet_star sky130_fd_pr__nfet_g5v0d10v5 sky130_fd_pr__nfet_05v0_nvt} full_metal 0 viasrc 100 viadrn 100 viagate 100 viagb 0 viagr 0 viagl 0 viagt 0
